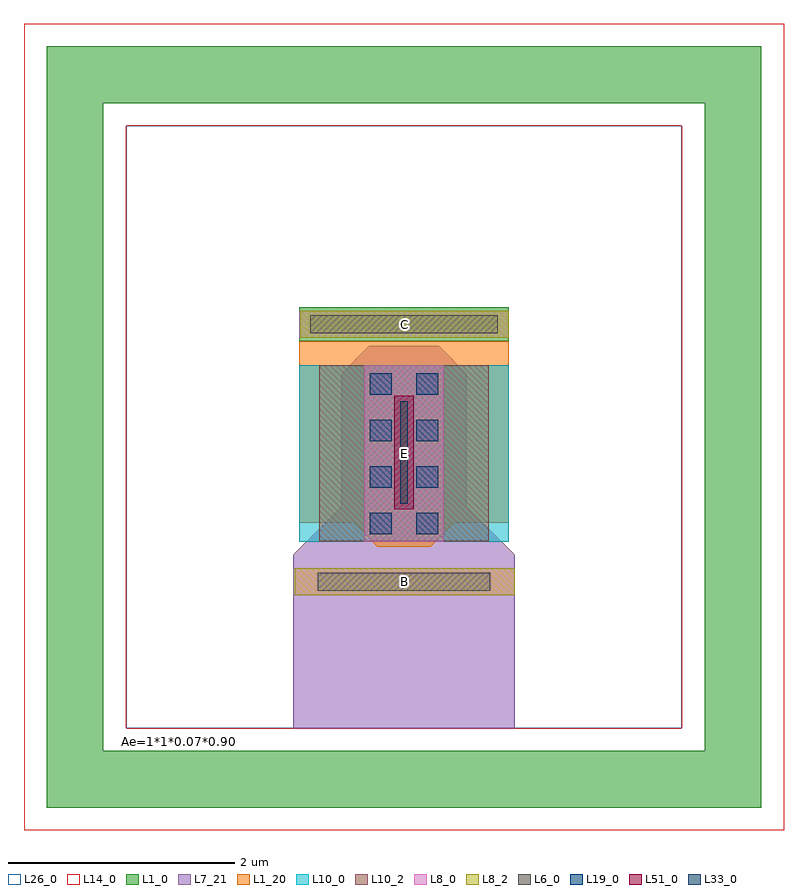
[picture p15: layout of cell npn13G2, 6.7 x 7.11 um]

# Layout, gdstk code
import gdstk
lib = gdstk.Library(unit=1e-6, precision=1e-09)
def R(c, l, rs):  # rectangles x0, y0, x1, y1
    for r in rs: c.add(gdstk.rectangle(r[:2], r[2:], *l))
def P(c, l, *ps):  # polygons
    for p in ps: c.add(gdstk.Polygon(p, *l))
L1_0 = (1, 0)
L1_20 = (1, 20)
L6_0 = (6, 0)
L7_21 = (7, 21)
L8_0 = (8, 0)
L8_2 = (8, 2)
L10_0 = (10, 0)
L10_2 = (10, 2)
L14_0 = (14, 0)
L19_0 = (19, 0)
L26_0 = (26, 0)
L33_0 = (33, 0)
L51_0 = (51, 0)

npn13g2_base_cdns_675179 = lib.new_cell('npn13G2_base_CDNS_675179387640')
R(npn13g2_base_cdns_675179, L1_0, [(-0.925,-1.28,0.925,-0.98), (-0.925,-1.28,0.925,-0.98)])
P(npn13g2_base_cdns_675179, L1_20, [(-0.925,-0.98),(-0.925,0.62),(-0.445,0.62),(-0.235,0.83),(0.235,0.83),(0.445,0.62),(0.925,0.62),(0.925,-0.98)],
  [(-0.925,-0.98),(-0.925,0.62),(-0.445,0.62),(-0.235,0.83),(0.235,0.83),(0.445,0.62),(0.925,0.62),(0.925,-0.98)])
R(npn13g2_base_cdns_675179, L6_0, [(-0.825,-1.21,0.825,-1.05), (-0.825,-1.21,0.825,-1.05), (-0.76,1.06,0.76,1.22), (-0.76,1.06,0.76,1.22)])
P(npn13g2_base_cdns_675179, L7_21, [(-0.305,-0.94),(-0.555,-0.69),(-0.555,0.48),(-0.975,0.9),(-0.975,2.43),(0.975,2.43),(0.975,0.9),(0.555,0.48),(0.555,-0.69),(0.305,-0.94)],
  [(-0.305,-0.94),(-0.555,-0.69),(-0.555,0.48),(-0.975,0.9),(-0.975,2.43),(0.975,2.43),(0.975,0.9),(0.555,0.48),(0.555,-0.69),(0.305,-0.94)])
R(npn13g2_base_cdns_675179, L8_0, [(-0.925,-1.25,0.925,-1.01), (-0.925,-1.25,0.925,-1.01), (-0.35,-0.77,0.35,0.785), (-0.35,-0.77,0.35,0.785), (-0.975,1.02,0.975,1.26), (-0.975,1.02,0.975,1.26)])
R(npn13g2_base_cdns_675179, L10_0, [(-0.925,-0.77,0.925,0.785), (-0.925,-0.77,0.925,0.785)])
R(npn13g2_base_cdns_675179, L19_0, [(-0.3,-0.7,-0.11,-0.51), (-0.3,-0.7,-0.11,-0.51), (0.11,-0.7,0.3,-0.51), (0.11,-0.7,0.3,-0.51), (-0.3,-0.29,-0.11,-0.1), (-0.3,-0.29,-0.11,-0.1), (0.11,-0.29,0.3,-0.1), (0.11,-0.29,0.3,-0.1), (-0.3,0.12,-0.11,0.31), (-0.3,0.12,-0.11,0.31), (0.11,0.12,0.3,0.31), (0.11,0.12,0.3,0.31), (-0.3,0.53,-0.11,0.72), (-0.3,0.53,-0.11,0.72), (0.11,0.53,0.3,0.72), (0.11,0.53,0.3,0.72)])
R(npn13g2_base_cdns_675179, L33_0, [(-0.035,-0.45,0.035,0.45), (-0.035,-0.45,0.035,0.45), (-0.035,-0.45,0.035,0.45), (-0.035,-0.45,0.035,0.45)])
R(npn13g2_base_cdns_675179, L51_0, [(-0.085,-0.5,0.085,0.5), (-0.085,-0.5,0.085,0.5)])
npn13g2_base_cdns_675179.add(gdstk.Label('npn13G2', (0.015,-2.31), layer=63, texttype=0))
npn13g2_base_cdns_675179.add(gdstk.Label('npn13G2', (0.015,-2.31), layer=63, texttype=0))
npn13g2_base_cdns_675179.add(gdstk.Label('npn13G2_base', (0,0), layer=51, texttype=0))
npn13g2_base_cdns_675179.add(gdstk.Label('npn13G2_base', (0,0), layer=51, texttype=0))

npn13g2 = lib.new_cell('npn13G2')
P(npn13g2, L1_0, [(-3.15,-3.13),(-3.15,3.58),(2.65,3.58),(2.65,3.08),(-2.65,3.08),(-2.65,-2.63),(2.65,-2.63),(2.65,3.58),(3.15,3.58),(3.15,-3.13)],
  [(-3.15,-3.13),(-3.15,3.58),(2.65,3.58),(2.65,3.08),(-2.65,3.08),(-2.65,-2.63),(2.65,-2.63),(2.65,3.58),(3.15,3.58),(3.15,-3.13)])
R(npn13g2, L8_2, [(-0.965,-1.26,0.975,-1.02), (-0.965,-1.26,0.975,-1.02), (-0.915,1.01,0.925,1.25), (-0.915,1.01,0.925,1.25)])
R(npn13g2, L10_2, [(-0.745,-0.78,0.745,0.77), (-0.745,-0.78,0.745,0.77)])
P(npn13g2, L14_0, [(-3.35,-3.33),(-3.35,3.78),(2.45,3.78),(2.45,2.88),(-2.45,2.88),(-2.45,-2.43),(2.45,-2.43),(2.45,3.78),(3.35,3.78),(3.35,-3.33)],
  [(-3.35,-3.33),(-3.35,3.78),(2.45,3.78),(2.45,2.88),(-2.45,2.88),(-2.45,-2.43),(2.45,-2.43),(2.45,3.78),(3.35,3.78),(3.35,-3.33)])
R(npn13g2, L26_0, [(-2.45,-2.43,2.45,2.88), (-2.45,-2.43,2.45,2.88)])
npn13g2.add(gdstk.Reference(npn13g2_base_cdns_675179, (0,0), x_reflection=True))
npn13g2.add(gdstk.Label('Ae=1*1*0.07*0.90', (-1.977,-2.546), layer=63, texttype=0))
npn13g2.add(gdstk.Label('E', (0,-0.005), layer=63, texttype=0))
npn13g2.add(gdstk.Label('B', (0.005,-1.14), layer=63, texttype=0))
npn13g2.add(gdstk.Label('C', (0.005,1.13), layer=63, texttype=0))
npn13g2.add(gdstk.Label('Ae=1*1*0.07*0.90', (-1.977,-2.546), layer=63, texttype=0))
npn13g2.add(gdstk.Label('E', (0,-0.005), layer=63, texttype=0))
npn13g2.add(gdstk.Label('B', (0.005,-1.14), layer=63, texttype=0))
npn13g2.add(gdstk.Label('C', (0.005,1.13), layer=63, texttype=0))

lib.write_gds('npn13G2.gds')
